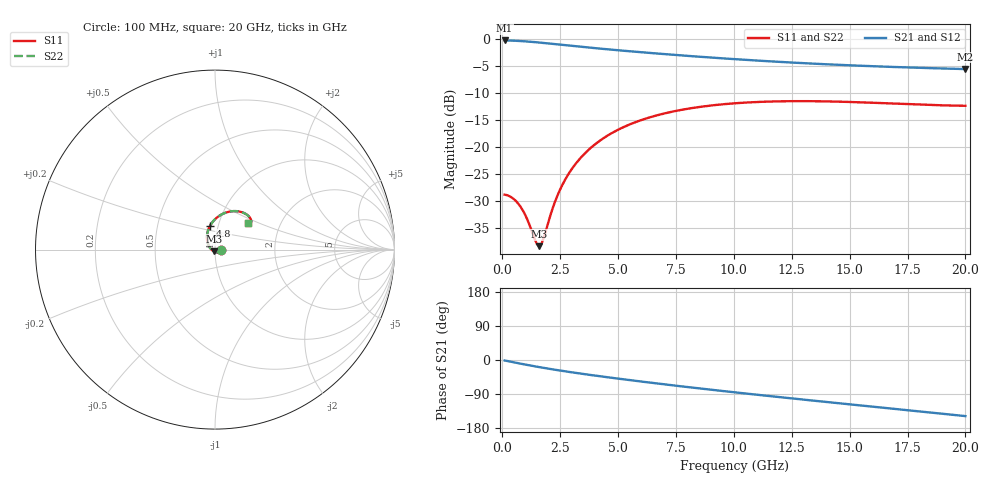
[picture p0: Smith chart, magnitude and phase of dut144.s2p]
! Created with skrf 1.9.0 (http://scikit-rf.org).
# GHz S RI R 50.0
!freq ReS11 ImS11 ReS21 ImS21 ReS12 ImS12 ReS22 ImS22
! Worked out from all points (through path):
!   200 points, 100 MHz to 20 GHz, reference 50 ohm
!   highest |S21| = -0.32 dB at 100 MHz (marker M1); lowest = -5.6 dB at 20 GHz (marker M2)
!   group delay of S21, straight-line fit = 19.5 ps
!   lowest |S11| = -38.4 dB at 1.6 GHz (marker M3), VSWR 1.02, Z = 49.4 - j1.02 ohm
!   |S11| at or under -10 dB: start of sweep to end of sweep
!   |S22| runs from -38.4 to -11.6 dB; largest |S21 - S12| = 2.2e-15
!   S11 on the Smith chart (normalised r, x): 100 MHz: 1.07, -0.00; 4.8 GHz: 0.91, +0.25; 20 GHz: 1.38, +0.44
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0.1  0.0359 -0.00204  0.9635 -0.0212  0.9635 -0.0212  0.0359 -0.00204
0.5  0.0309 -0.0107  0.9533 -0.1032  0.9533 -0.1032  0.0309 -0.0107
0.8  0.0232 -0.0149  0.9377 -0.1617  0.9377 -0.1617  0.0232 -0.0149
1.1  0.0131 -0.0161  0.9166 -0.2163  0.9166 -0.2163  0.0131 -0.0161
1.5  -0.00217 -0.0123  0.8821 -0.2821  0.8821 -0.2821  -0.00217 -0.0123
1.6  -0.006 -0.0104  0.8726 -0.2972  0.8726 -0.2972  -0.006 -0.0104
1.7  -0.00977 -0.0081  0.8628 -0.3119  0.8628 -0.3119  -0.00977 -0.0081
1.8  -0.0134 -0.00548  0.8529 -0.326  0.8529 -0.326  -0.0134 -0.00548
2.2  -0.0266 0.00804  0.8113 -0.3777  0.8113 -0.3777  -0.0266 0.00804
2.5  -0.0344 0.0208  0.7791 -0.4119  0.7791 -0.4119  -0.0344 0.0208
2.7  -0.0385 0.0301  0.7574 -0.4327  0.7574 -0.4327  -0.0385 0.0301
3  -0.0427 0.045  0.7247 -0.4612  0.7247 -0.4612  -0.0427 0.045
3.5  -0.0448 0.0709  0.6705 -0.5027  0.6705 -0.5027  -0.0448 0.0709
4.1  -0.0402 0.1013  0.6061 -0.5439  0.6061 -0.5439  -0.0402 0.1013
4.8  -0.0271 0.1335  0.5324 -0.5821  0.5324 -0.5821  -0.0271 0.1335
5.7  -0.00181 0.1671  0.4403 -0.6183  0.4403 -0.6183  -0.00181 0.1671
6.8  0.0353 0.1951  0.3324 -0.6455  0.3324 -0.6455  0.0353 0.1951
8.3  0.0867 0.2128  0.1952 -0.658  0.1952 -0.658  0.0867 0.2128
10.1  0.1388 0.2113  0.0479 -0.6437  0.0479 -0.6437  0.1388 0.2113
13.4  0.1926 0.1803  -0.1721 -0.5623  -0.1721 -0.5623  0.1926 0.1803
16.7  0.2005 0.1522  -0.3347 -0.4355  -0.3347 -0.4355  0.2005 0.1522
20  0.1862 0.15  -0.444 -0.2769  -0.444 -0.2769  0.1862 0.15
